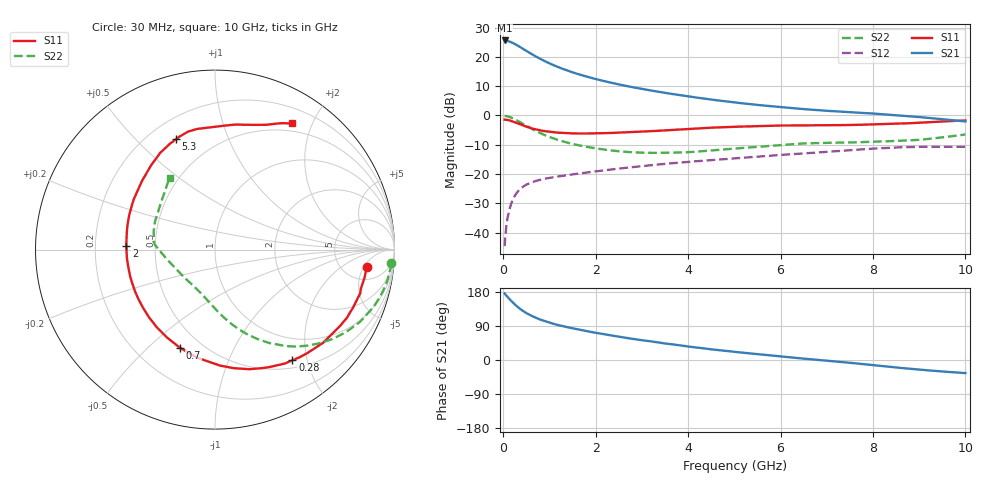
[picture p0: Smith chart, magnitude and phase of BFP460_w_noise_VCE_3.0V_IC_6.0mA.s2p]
! (c) 2016  Infineon Technologies AG, Munich
! Infineon Technologies  Discrete & RF Semiconductors
! BFP460
! VCE =  3.0 V,  IC =  6.0 mA
! Common Emitter S-Parameters:  Jan 2016
# GHz  S  MA  R  50
!  f  S11  S21  S12  S22
! GHz  MAG  ANG  MAG  ANG  MAG  ANG  MAG  ANG
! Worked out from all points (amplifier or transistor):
!   229 points, 30 MHz to 10 GHz, reference 50 ohm
!   highest |S21| = 25.6 dB at 30 MHz (marker M1)
!   |S21| within 3 dB of that: start of sweep to 442.8 MHz
!   unconditionally stable (mu >= 1): 2.906 GHz to 7.839 GHz
!   at 280 MHz: K = 0.19, MSG = 25.4 dB, |S12| = -26.7 dB
!   at 1.78 GHz: K = 0.81, MSG = 16.4 dB, |S12| = -19.5 dB
!   at 10 GHz: K = 0.95, MSG = 4.3 dB, |S12| = -10.7 dB
!   lowest NFmin = 0.83 dB at 450 MHz
!   S11 on the Smith chart (normalised r, x): 30 MHz: 8, -6; 280 MHz: 0.62, -1.75; 700 MHz: 0.38, -0.63; 2 GHz: 0.34, +0.02; 5.3 GHz: 0.31, +0.66; 10 GHz: 0.39, +1.71
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0.03  0.8505 -6.4  19.06 175.5  0.0059 85.2  0.986 -4.5
0.07  0.8413 -14.9  18.92 169.3  0.0135 81.6  0.9763 -9.7
0.09  0.8399 -19.0  18.73 166.9  0.0173 79.7  0.9684 -12.5
0.15  0.8173 -31.1  18.04 158.7  0.0276 73.5  0.9368 -20.3
0.2  0.7951 -40.8  17.4 152.5  0.0356 68.9  0.9024 -26.5
0.28  0.7525 -55.0  16.12 143.4  0.0462 62.1  0.8381 -35.2
0.36  0.7119 -68.0  14.81 135.4  0.0549 56.6  0.7728 -42.8
0.48  0.655 -84.8  12.94 125.4  0.0647 50.3  0.6808 -52.3
0.6  0.6105 -99.3  11.34 117.2  0.0718 45.8  0.6023 -59.8
0.7  0.5808 -109.6  10.21 111.5  0.0763 43.1  0.5474 -65.0
0.9  0.541 -126.8  8.448 102.4  0.0833 39.5  0.4629 -73.4
1.1  0.5159 -140.8  7.157 95.1  0.0889 37.6  0.4031 -79.9
1.4  0.4981 -157.4  5.798 86.2  0.0965 36.2  0.3422 -87.9
1.7  0.4925 -171.0  4.866 78.6  0.1038 35.5  0.3026 -94.7
2  0.4946 177.4  4.19 71.8  0.1113 35.0  0.2752 -101.2
2.62  0.5155 157.9  3.242 59.2  0.1272 33.8  0.2408 -115.6
3.4  0.5515 139.0  2.507 45.5  0.1471 31.5  0.2308 -134.5
5.1  0.6451 111.7  1.638 20.3  0.1878 25.6  0.2768 -169.8
5.3  0.652 109.5  1.575 17.9  0.1934 24.8  0.2838 -172.2
6.8  0.6794 95.5  1.235 0.4  0.2338 17.6  0.3383 174.4
8.4  0.7184 75.4  1.025 -18.5  0.2828 6.2  0.366 156.9
10  0.8225 58.7  0.792 -34.5  0.2924 -5.7  0.4744 122.2
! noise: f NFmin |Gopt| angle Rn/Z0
0.45  0.83  0.28  16  0.15
0.9  0.84  0.26  37  0.16
1.9  1.07  0.14  103  0.12
3.5  1.18  0.31  -149  0.11
